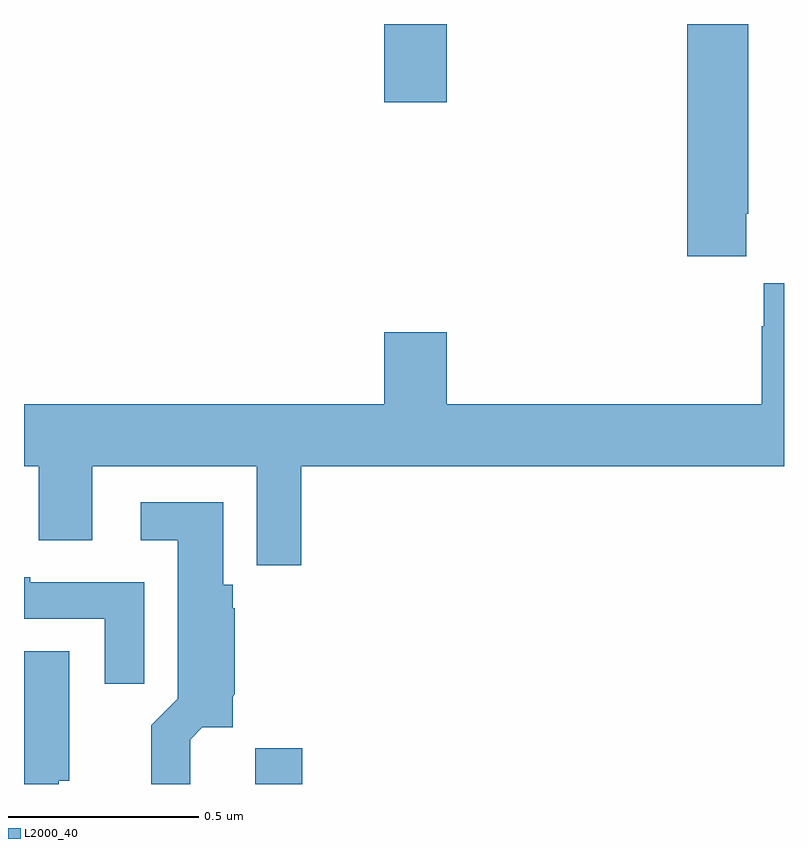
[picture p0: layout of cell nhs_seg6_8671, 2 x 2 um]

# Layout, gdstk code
import gdstk
lib = gdstk.Library(unit=1e-6, precision=1e-09)
def R(c, l, rs):  # rectangles x0, y0, x1, y1
    for r in rs: c.add(gdstk.rectangle(r[:2], r[2:], *l))
def P(c, l, *ps):  # polygons
    for p in ps: c.add(gdstk.Polygon(p, *l))
L2000_40 = (2000, 40)

nhs_seg6_8671 = lib.new_cell('nhs_seg6_8671')
R(nhs_seg6_8671, L2000_40, [(224.609,946.5,224.732,946.594), (224.948,948.294,225.112,948.5)])
P(nhs_seg6_8671, L2000_40, [(225.901,948.001),(225.906,948.001),(225.906,948.5),(225.746,948.5),(225.746,947.889),(225.901,947.889)],
  [(224.729,947.336),(226,947.336),(226,947.818),(225.947,947.818),(225.947,947.705),(225.941,947.705),(225.941,947.5),(225.112,947.5),(225.112,947.689),(224.948,947.689),(224.948,947.5),(224,947.5),(224,947.336),(224.039,947.336),(224.039,947.142),(224.179,947.142),(224.179,947.336),(224.613,947.336),(224.613,947.076),(224.729,947.076)],
  [(224.437,946.616),(224.469,946.649),(224.549,946.649),(224.549,946.73),(224.555,946.736),(224.555,946.962),(224.549,946.962),(224.549,947.025),(224.524,947.025),(224.524,947.242),(224.307,947.242),(224.307,947.141),(224.405,947.141),(224.405,946.724),(224.335,946.654),(224.335,946.5),(224.437,946.5)],
  [(224.317,947.031),(224.017,947.031),(224.017,947.044),(224,947.044),(224,946.935),(224.213,946.935),(224.213,946.764),(224.317,946.764)],
  [(224.092,946.509),(224.119,946.509),(224.119,946.85),(224,946.85),(224,946.5),(224.092,946.5)])

lib.write_gds('nhs_seg6_8671.gds')
